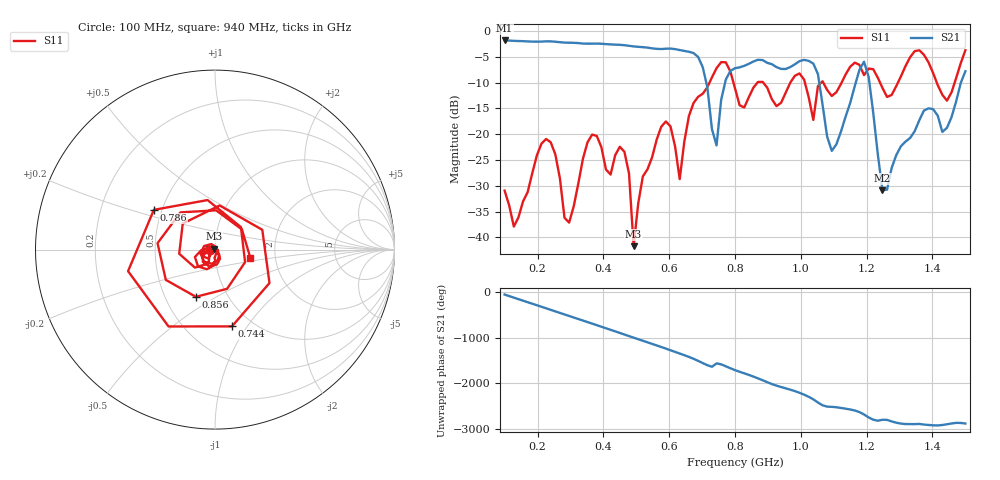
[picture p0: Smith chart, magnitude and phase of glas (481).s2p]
! NanoVNA-App
! Date: 2025-09-25 15:59:13
! Start: 100MHz Stop: 1,5GHz Points: 101
! S-Parameter data: F S11 S21 S12 S22
# Hz S RI R 50
!  Frequency  S11_Real  S11_Imag  S21_Real  S21_Imag  S12_Real  S12_Imag  S22_Real  S22_Imag
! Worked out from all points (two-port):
!   101 points, 100 MHz to 1.5 GHz, reference 50 ohm
!   highest |S21| = -1.80 dB at 100 MHz (marker M1); lowest = -30.9 dB at 1.248 GHz (marker M2)
!   |S21| within 3 dB of the highest: start of sweep to 684.3 MHz
!   lowest |S11| = -41.7 dB at 492 MHz (marker M3), VSWR 1.02, Z = 49.5 + j0.603 ohm
!   |S11| at or under -10 dB: start of sweep to 722.5 MHz; 795.3 MHz to 868 MHz (72.7 MHz wide, 8.74 % of centre); 886 MHz to 967.8 MHz (81.86 MHz wide, 8.83 % of centre) (the widest 3 of 7)
!   S12 and S22 are empty: the file has one direction only
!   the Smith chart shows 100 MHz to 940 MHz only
!   S11 on the Smith chart (normalised r, x): 100 MHz: 0.95, -0.01; 744 MHz: 0.81, -0.85; 786 MHz: 0.45, +0.24; 856 MHz: 0.71, -0.41; 940 MHz: 1.48, -0.14
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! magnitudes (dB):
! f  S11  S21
! 100 MHz  -30.9  -1.8
! 128 MHz  -37.9  -1.9
! 226 MHz  -20.9  -2.0
! 296 MHz  -37.1  -2.2
! 338 MHz  -24.7  -2.4
! 464 MHz  -23.4  -2.7
! 492 MHz  -41.7  -3.0
! 576 MHz  -18.5  -3.5
! 632 MHz  -28.7  -3.7
! 702 MHz  -12.1  -7.0
! 744 MHz  -7.2  -22.2
! 786 MHz  -7.8  -7.7
! 800 MHz  -11.1  -7.2
! 856 MHz  -10.9  -5.9
! 940 MHz  -13.9  -7.3
! 1.038 GHz  -17.2  -6.3
! 1.094 GHz  -12.6  -23.2
! 1.192 GHz  -8.5  -5.9
! 1.248 GHz  -11.0  -30.9
! 1.276 GHz  -12.4  -26.5
! 1.444 GHz  -13.5  -18.8
! 1.5 GHz  -3.7  -7.8
